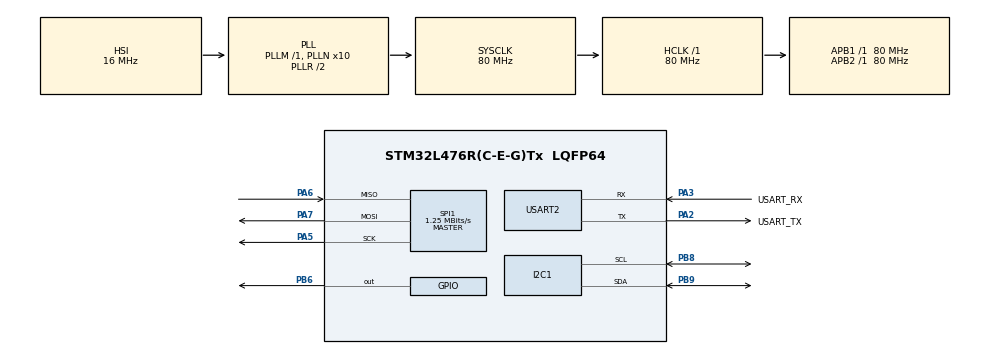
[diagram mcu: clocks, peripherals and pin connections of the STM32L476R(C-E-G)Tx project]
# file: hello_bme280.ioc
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Mcu.Family=STM32L4
PA2.GPIO_PuPd=GPIO_NOPULL
PA6.Mode=Full_Duplex_Master
VP_SYS_VS_tim6.Mode=TIM6
RCC.CortexFreq_Value=80000000
NVIC.I2C1_EV_IRQn=true\:5\:0\:false\:false\:true\:true\:true\:true
SPI1.VirtualType=VM_MASTER
NVIC.TIM6_DAC_IRQn=true\:0\:0\:false\:false\:true\:false\:false\:true
PH0-OSC_IN\ (PH0).Signal=RCC_OSC_IN
PA3.GPIO_PuPd=GPIO_NOPULL
PA2.GPIO_Speed=GPIO_SPEED_FREQ_VERY_HIGH
PC15-OSC32_OUT\ (PC15).Mode=LSE-External-Oscillator
PA3.GPIO_Speed=GPIO_SPEED_FREQ_VERY_HIGH
RCC.SYSCLKSource=RCC_SYSCLKSOURCE_PLLCLK
ProjectManager.StackSize=0x400
PB3\ (JTDO-TRACESWO).Signal=SYS_JTDO-SWO
PC14-OSC32_IN\ (PC14).Mode=LSE-External-Oscillator
VP_FREERTOS_VS_CMSIS_V2.Mode=CMSIS_V2
PA14\ (JTCK-SWCLK).Signal=SYS_JTCK-SWCLK
SPI1.Direction=SPI_DIRECTION_2LINES
RCC.HCLKFreq_Value=80000000
RCC.APB2TimFreq_Value=80000000
PB6.Signal=GPIO_Output
SPI1.CalculateBaudRate=1.25 MBits/s
RCC.AHBFreq_Value=80000000
RCC.PREFETCH_ENABLE=1
RCC.HSE_VALUE=8000000
USART2.VirtualMode-Asynchronous=VM_ASYNC
SPI1.DataSize=SPI_DATASIZE_8BIT
NVIC.I2C1_ER_IRQn=true\:5\:0\:false\:false\:true\:true\:true\:true
Mcu.Package=LQFP64
PB9.Signal=I2C1_SDA
PA6.Signal=SPI1_MISO
NVIC.TimeBase=TIM6_DAC_IRQn
PA2.GPIO_Label=USART_TX
NVIC.TimeBaseIP=TIM6
RCC.APB1TimFreq_Value=80000000
PA13\ (JTMS-SWDIO).Signal=SYS_JTMS-SWDIO
SPI1.BaudRatePrescaler=SPI_BAUDRATEPRESCALER_64
PA3.Signal=USART2_RX
PA5.Mode=Full_Duplex_Master
PA2.GPIO_Mode=GPIO_MODE_AF_PP
RCC.MSI_VALUE=4000000
RCC.PLLSourceVirtual=RCC_PLLSOURCE_HSI
PA14\ (JTCK-SWCLK).Mode=Serial_Wire
FREERTOS.Tasks01=defaultTask,24,256,StartDefaultTask,Default,NULL,Dynamic,NULL,NULL
PA7.Mode=Full_Duplex_Master
PC15-OSC32_OUT\ (PC15).Signal=RCC_OSC32_OUT
PA14\ (JTCK-SWCLK).GPIO_Label=TCK
PB3\ (JTDO-TRACESWO).GPIO_Label=SWO
PH1-OSC_OUT\ (PH1).Signal=RCC_OSC_OUT
PA3.Mode=Asynchronous
ProjectManager.TargetToolchain=STM32CubeIDE
PA3.GPIO_Mode=GPIO_MODE_AF_PP
PB9.Mode=I2C
I2C1.Timing=0x10909CEC
RCC.USBFreq_Value=64000000
PA5.Signal=SPI1_SCK
board=NUCLEO-L476RG
RCC.VCOOutputFreq_Value=160000000
RCC.APB2Freq_Value=80000000
PA13\ (JTMS-SWDIO).GPIO_Label=TMS
SPI1.Mode=SPI_MODE_MASTER
RCC.ADCFreq_Value=64000000
Mcu.Name=STM32L476R(C-E-G)Tx
PA2.Signal=USART2_TX
PA13\ (JTMS-SWDIO).Mode=Serial_Wire
RCC.SYSCLKFreq_VALUE=80000000
PC14-OSC32_IN\ (PC14).Signal=RCC_OSC32_IN
ProjectManager.HeapSize=0x200
RCC.HSI_VALUE=16000000
NVIC.PriorityGroup=NVIC_PRIORITYGROUP_4
RCC.PLLN=10
PB8.Mode=I2C
PA2.Mode=Asynchronous
PB8.Signal=I2C1_SCL
RCC.APB1Freq_Value=80000000
PA3.GPIO_Label=USART_RX
PA7.Signal=SPI1_MOSI

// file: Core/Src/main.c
/* USER CODE BEGIN Header */
/**
  ******************************************************************************
  * @file           : main.c
  * @brief          : Main program body
  ******************************************************************************
  * @attention
  *
  * <h2><center>&copy; Copyright (c) 2021 STMicroelectronics.
  * All rights reserved.</center></h2>
  *
  * This software component is licensed by ST under BSD 3-Clause license,
  * the "License"; You may not use this file except in compliance with the
  * License. You may obtain a copy of the License at:
  *                        opensource.org/licenses/BSD-3-Clause
  *
  ******************************************************************************
  */
/* USER CODE END Header */
#include "main.h"
#include "cmsis_os.h"

/* USER CODE BEGIN Includes */
#include <stdio.h>
#include "bme280.h"
/* USER CODE END Includes */

/* USER CODE BEGIN PD */
#ifdef __GNUC__
	#define PUTCHAR_PROTOTYPE int __io_putchar(int ch)
#else
	#define PUTCHAR_PROTOTYPE int fputc(int ch, FILE *f)
#endif /* __GNUC__ */
/* USER CODE END PD */

I2C_HandleTypeDef hi2c1;

SPI_HandleTypeDef hspi1;

UART_HandleTypeDef huart2;

/* Definitions for defaultTask */
osThreadId_t defaultTaskHandle;
const osThreadAttr_t defaultTask_attributes = {
  .name = "defaultTask",
  .stack_size = 256 * 4,
  .priority = (osPriority_t) osPriorityNormal,
};

void SystemClock_Config(void);
static void MX_GPIO_Init(void);
static void MX_USART2_UART_Init(void);
static void MX_I2C1_Init(void);
static void MX_SPI1_Init(void);
void StartDefaultTask(void *argument);

/* USER CODE BEGIN 0 */
PUTCHAR_PROTOTYPE
{
	HAL_UART_Transmit(&huart2, (uint8_t *)&ch, 1, 0xFFFF);
	return ch;
}

BME280Handle_t xBME280;
/* USER CODE END 0 */

int main(void)
{

  /* MCU Configuration--------------------------------------------------------*/

  /* Reset of all peripherals, Initializes the Flash interface and the Systick. */
  HAL_Init();

  /* Configure the system clock */
  SystemClock_Config();

  /* Initialize all configured peripherals */
  MX_GPIO_Init();
  MX_USART2_UART_Init();
  MX_I2C1_Init();
  MX_SPI1_Init();
  /* USER CODE BEGIN 2 */
  BME280_I2C_vInit(&xBME280, &hi2c1, BME280_I2C_SLAVE_ADDRESS_A);
  //BME280_SPI_vInit(&xBME280, &hspi1, GPIOB, GPIO_PIN_6);

  /* USER CODE END 2 */

  /* Init scheduler */
  osKernelInitialize();

  /* Create the thread(s) */
  /* creation of defaultTask */
  defaultTaskHandle = osThreadNew(StartDefaultTask, NULL, &defaultTask_attributes);

  /* Start scheduler */
  osKernelStart();

  /* We should never get here as control is now taken by the scheduler */
  /* Infinite loop */
  while (1)
  {

  }
}

void SystemClock_Config(void)
{
  RCC_OscInitTypeDef RCC_OscInitStruct = {0};
  RCC_ClkInitTypeDef RCC_ClkInitStruct = {0};
  RCC_PeriphCLKInitTypeDef PeriphClkInit = {0};

  /** Initializes the RCC Oscillators according to the specified parameters
  * in the RCC_OscInitTypeDef structure.
  */
  RCC_OscInitStruct.OscillatorType = RCC_OSCILLATORTYPE_HSI;
  RCC_OscInitStruct.HSIState = RCC_HSI_ON;
  RCC_OscInitStruct.HSICalibrationValue = RCC_HSICALIBRATION_DEFAULT;
  RCC_OscInitStruct.PLL.PLLState = RCC_PLL_ON;
  RCC_OscInitStruct.PLL.PLLSource = RCC_PLLSOURCE_HSI;
  RCC_OscInitStruct.PLL.PLLM = 1;
  RCC_OscInitStruct.PLL.PLLN = 10;
  RCC_OscInitStruct.PLL.PLLP = RCC_PLLP_DIV7;
  RCC_OscInitStruct.PLL.PLLQ = RCC_PLLQ_DIV2;
  RCC_OscInitStruct.PLL.PLLR = RCC_PLLR_DIV2;
  if (HAL_RCC_OscConfig(&RCC_OscInitStruct) != HAL_OK)
  {
    Error_Handler();
  }
  /** Initializes the CPU, AHB and APB buses clocks
  */
  RCC_ClkInitStruct.ClockType = RCC_CLOCKTYPE_HCLK|RCC_CLOCKTYPE_SYSCLK
                              |RCC_CLOCKTYPE_PCLK1|RCC_CLOCKTYPE_PCLK2;
  RCC_ClkInitStruct.SYSCLKSource = RCC_SYSCLKSOURCE_PLLCLK;
  RCC_ClkInitStruct.AHBCLKDivider = RCC_SYSCLK_DIV1;
  RCC_ClkInitStruct.APB1CLKDivider = RCC_HCLK_DIV1;
  RCC_ClkInitStruct.APB2CLKDivider = RCC_HCLK_DIV1;

  if (HAL_RCC_ClockConfig(&RCC_ClkInitStruct, FLASH_LATENCY_4) != HAL_OK)
  {
    Error_Handler();
  }
  PeriphClkInit.PeriphClockSelection = RCC_PERIPHCLK_USART2|RCC_PERIPHCLK_I2C1;
  PeriphClkInit.Usart2ClockSelection = RCC_USART2CLKSOURCE_PCLK1;
  PeriphClkInit.I2c1ClockSelection = RCC_I2C1CLKSOURCE_PCLK1;
  if (HAL_RCCEx_PeriphCLKConfig(&PeriphClkInit) != HAL_OK)
  {
    Error_Handler();
  }
  /** Configure the main internal regulator output voltage
  */
  if (HAL_PWREx_ControlVoltageScaling(PWR_REGULATOR_VOLTAGE_SCALE1) != HAL_OK)
  {
    Error_Handler();
  }
}

static void MX_I2C1_Init(void)
{

  hi2c1.Instance = I2C1;
  hi2c1.Init.Timing = 0x10909CEC;
  hi2c1.Init.OwnAddress1 = 0;
  hi2c1.Init.AddressingMode = I2C_ADDRESSINGMODE_7BIT;
  hi2c1.Init.DualAddressMode = I2C_DUALADDRESS_DISABLE;
  hi2c1.Init.OwnAddress2 = 0;
  hi2c1.Init.OwnAddress2Masks = I2C_OA2_NOMASK;
  hi2c1.Init.GeneralCallMode = I2C_GENERALCALL_DISABLE;
  hi2c1.Init.NoStretchMode = I2C_NOSTRETCH_DISABLE;
  if (HAL_I2C_Init(&hi2c1) != HAL_OK)
  {
    Error_Handler();
  }
  /** Configure Analogue filter
  */
  if (HAL_I2CEx_ConfigAnalogFilter(&hi2c1, I2C_ANALOGFILTER_ENABLE) != HAL_OK)
  {
    Error_Handler();
  }
  /** Configure Digital filter
  */
  if (HAL_I2CEx_ConfigDigitalFilter(&hi2c1, 0) != HAL_OK)
  {
    Error_Handler();
  }

}

static void MX_SPI1_Init(void)
{

  /* SPI1 parameter configuration*/
  hspi1.Instance = SPI1;
  hspi1.Init.Mode = SPI_MODE_MASTER;
  hspi1.Init.Direction = SPI_DIRECTION_2LINES;
  hspi1.Init.DataSize = SPI_DATASIZE_8BIT;
  hspi1.Init.CLKPolarity = SPI_POLARITY_LOW;
  hspi1.Init.CLKPhase = SPI_PHASE_1EDGE;
  hspi1.Init.NSS = SPI_NSS_SOFT;
  hspi1.Init.BaudRatePrescaler = SPI_BAUDRATEPRESCALER_64;
  hspi1.Init.FirstBit = SPI_FIRSTBIT_MSB;
  hspi1.Init.TIMode = SPI_TIMODE_DISABLE;
  hspi1.Init.CRCCalculation = SPI_CRCCALCULATION_DISABLE;
  hspi1.Init.CRCPolynomial = 7;
  hspi1.Init.CRCLength = SPI_CRC_LENGTH_DATASIZE;
  hspi1.Init.NSSPMode = SPI_NSS_PULSE_ENABLE;
  if (HAL_SPI_Init(&hspi1) != HAL_OK)
  {
    Error_Handler();
  }

}

static void MX_USART2_UART_Init(void)
{

  huart2.Instance = USART2;
  huart2.Init.BaudRate = 115200;
  huart2.Init.WordLength = UART_WORDLENGTH_8B;
  huart2.Init.StopBits = UART_STOPBITS_1;
  huart2.Init.Parity = UART_PARITY_NONE;
  huart2.Init.Mode = UART_MODE_TX_RX;
  huart2.Init.HwFlowCtl = UART_HWCONTROL_NONE;
  huart2.Init.OverSampling = UART_OVERSAMPLING_16;
  huart2.Init.OneBitSampling = UART_ONE_BIT_SAMPLE_DISABLE;
  huart2.AdvancedInit.AdvFeatureInit = UART_ADVFEATURE_NO_INIT;
  if (HAL_UART_Init(&huart2) != HAL_OK)
  {
    Error_Handler();
  }

}

static void MX_GPIO_Init(void)
{
  GPIO_InitTypeDef GPIO_InitStruct = {0};

  /* GPIO Ports Clock Enable */
  __HAL_RCC_GPIOC_CLK_ENABLE();
  __HAL_RCC_GPIOH_CLK_ENABLE();
  __HAL_RCC_GPIOA_CLK_ENABLE();
  __HAL_RCC_GPIOB_CLK_ENABLE();

  /*Configure GPIO pin Output Level */
  HAL_GPIO_WritePin(GPIOB, GPIO_PIN_6, GPIO_PIN_RESET);

  /*Configure GPIO pin : PB6 */
  GPIO_InitStruct.Pin = GPIO_PIN_6;
  GPIO_InitStruct.Mode = GPIO_MODE_OUTPUT_PP;
  GPIO_InitStruct.Pull = GPIO_NOPULL;
  GPIO_InitStruct.Speed = GPIO_SPEED_FREQ_LOW;
  HAL_GPIO_Init(GPIOB, &GPIO_InitStruct);

}

void StartDefaultTask(void *argument)
{
  /* USER CODE BEGIN 5 */
	HAL_GPIO_WritePin(GPIOB, GPIO_PIN_6, GPIO_PIN_SET);

  /* Infinite loop */
  for(;;)
  {
  	printf("hello, world!\r\n");
  	/*
  	uint8_t tData = 0xD0; //0xD0;
  	uint8_t rData = 0x00; //0xD0;

  	HAL_I2C_Mem_Read(&hi2c1, (0x76<<1), 0xD0, 1, &rData, 1, 50);
  	//HAL_I2C_Master_Transmit(&hi2c1, (0x76<<1) | (0x00), &tData, 1, 50);
  	//HAL_I2C_Master_Receive(&hi2c1, (0x76<<1) | (0x01), &rData, 1, 50);
		*/

  	//HAL_I2C_Mem_Read(&hi2c1, (0x76<<1), BME280_DATA_ADDRESS, 1, &(xBME280.xRawData), 8, 50);
  	//BME280_vDisableHumidity(&xBME280);
  	//osDelay(200);

  	/*
  	BME280_I2C_vMeasureAllForced(&xBME280);
  	//BME280_vMeasureForced(&xBME280, 1, 0, 1);

  	BME280_I2C_vReadRawData(&xBME280);
  	//BME280_vPrintRawData(&xBME280);

  	//BME280_vPrintCalibrationData(&xBME280);

  	BME280_I2C_vPrintfCompensatedData(&xBME280);
  	//BME280_vPrintlCompensatedData(&xBME280);
		*/

  	BME280_I2C_vReadChipID(&xBME280);

  	/*
  	//BME280_SPI_vReadChipID(&xBME280);
  	//BME280_SPI_vReadCalibrationData(&xBME280);
  	//BME280_Debug_vPrintCalibrationData(&xBME280);
  	BME280_SPI_vMeasureAllForced(&xBME280);
  	BME280_SPI_vReadRawData(&xBME280);
  	//BME280_Debug_vPrintlCompensatedData(&xBME280);
  	BME280_Debug_vPrintfCompensatedData(&xBME280);
  	//BME280_Debug_vPrintRawData(&xBME280);
		*/

    osDelay(2000);
  }
  /* USER CODE END 5 */
}

 /**
  * @brief  Period elapsed callback in non blocking mode
  * @note   This function is called  when TIM6 interrupt took place, inside
  * HAL_TIM_IRQHandler(). It makes a direct call to HAL_IncTick() to increment
  * a global variable "uwTick" used as application time base.
  * @param  htim : TIM handle
  * @retval None
  */
void HAL_TIM_PeriodElapsedCallback(TIM_HandleTypeDef *htim)
{
  if (htim->Instance == TIM6) {
    HAL_IncTick();
  }
}

void Error_Handler(void)
{
  __disable_irq();
  while (1)
  {
  }
}

/************************ (C) COPYRIGHT STMicroelectronics *****END OF FILE****/
